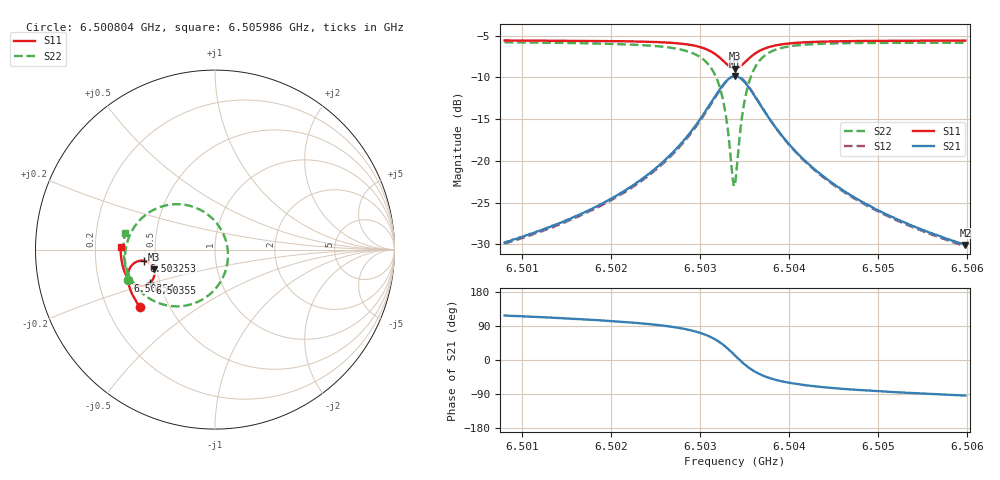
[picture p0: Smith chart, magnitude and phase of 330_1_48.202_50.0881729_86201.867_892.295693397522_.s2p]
#  HZ  S  RI  R  50.00
! Rohde & Schwarz Vector Network Analyzer
! Rohde-Schwarz,ZNB20-2Port,1311601062101988,3.16
! Created: UTC 3/20/2024, 11:50:50 AM
! freq[Hz]  re:S11  im:S11  re:S21  im:S21  re:S12  im:S12  re:S22  im:S22
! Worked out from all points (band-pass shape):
!   401 points, 6.500804 GHz to 6.505986 GHz, reference 50 ohm
!   highest |S21| = -9.86 dB at 6.503395 GHz (marker M1); lowest = -30.1 dB at 6.505986 GHz (marker M2)
!   |S21| within 3 dB of the highest: 6.503135 GHz to 6.503654 GHz (518.4 kHz wide, 0.00797 % of centre)
!   lowest |S11| = -8.9 dB at 6.503395 GHz (marker M3), VSWR 2.11, Z = 24.1 - j6.11 ohm
!   |S11| at or under -10 dB: nowhere
!   |S22| runs from -23.0 to -5.8 dB; largest |S21 - S12| = 0.011
!   S11 on the Smith chart (normalised r, x): 6.500804 GHz: 0.34, -0.30; 6.50254 GHz: 0.33, -0.15; 6.503253 GHz: 0.43, -0.06; 6.50355 GHz: 0.44, -0.20; 6.505986 GHz: 0.31, +0.01
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6.5008043e9  -0.4196 -0.3182  -0.0149 0.0287  -0.0133 0.029  -0.4854 -0.1672
6.5016722e9  -0.4578 -0.2553  -0.0145 0.0462  -0.0122 0.0458  -0.5011 -0.0772
6.5021515e9  -0.4752 -0.2136  -0.0118 0.0652  -0.00884 0.0641  -0.4993 -0.0112
6.5025401e9  -0.485 -0.1717  -0.00311 0.0939  0.000307 0.0917  -0.4814 0.0636
6.5027992e9  -0.4847 -0.1351  0.0152 0.1278  0.0191 0.1242  -0.4425 0.1359
6.5029805e9  -0.4736 -0.1019  0.0492 0.1636  0.0526 0.1584  -0.3752 0.2016
6.5031489e9  -0.4395 -0.0691  0.126 0.1968  0.1273 0.1904  -0.2348 0.2522
6.5032525e9  -0.3974 -0.0619  0.2101 0.188  0.2102 0.1827  -0.0884 0.2249
6.5033044e9  -0.3724 -0.0704  0.2576 0.1606  0.2585 0.1557  -0.00934 0.1683
6.5033691e9  -0.3463 -0.0963  0.3045 0.0981  0.3068 0.093  0.0611 0.0483
6.503395e9  -0.34 -0.1104  0.3145 0.0664  0.3175 0.0606  0.0717 -0.0103
6.503408e9  -0.3381 -0.1181  0.3172 0.0502  0.3202 0.0437  0.0723 -0.0403
6.5034598e9  -0.3391 -0.1484  0.3116 -0.0142  0.3143 -0.023  0.0445 -0.1543
6.5034857e9  -0.3441 -0.1619  0.3005 -0.0426  0.3022 -0.0524  0.0155 -0.202
6.5035505e9  -0.3649 -0.1871  0.2587 -0.0956  0.2575 -0.1065  -0.0787 -0.2827
6.5036541e9  -0.4035 -0.2018  0.1858 -0.131  0.1806 -0.1402  -0.2249 -0.3158
6.5038225e9  -0.4487 -0.192  0.1062 -0.1283  0.0994 -0.1331  -0.3685 -0.2705
6.5040039e9  -0.4756 -0.1708  0.0626 -0.109  0.0567 -0.1111  -0.439 -0.207
6.5042629e9  -0.4962 -0.1405  0.0333 -0.0854  0.0287 -0.0858  -0.4816 -0.1361
6.5046516e9  -0.5117 -0.1007  0.0147 -0.0627  0.0115 -0.0624  -0.5036 -0.0618
6.5051309e9  -0.5211 -0.0569  0.00494 -0.0466  0.00276 -0.046  -0.5096 0.00406
6.5059858e9  -0.5258 0.015  -0.00215 -0.0313  -0.00336 -0.0307  -0.5013 0.0927
